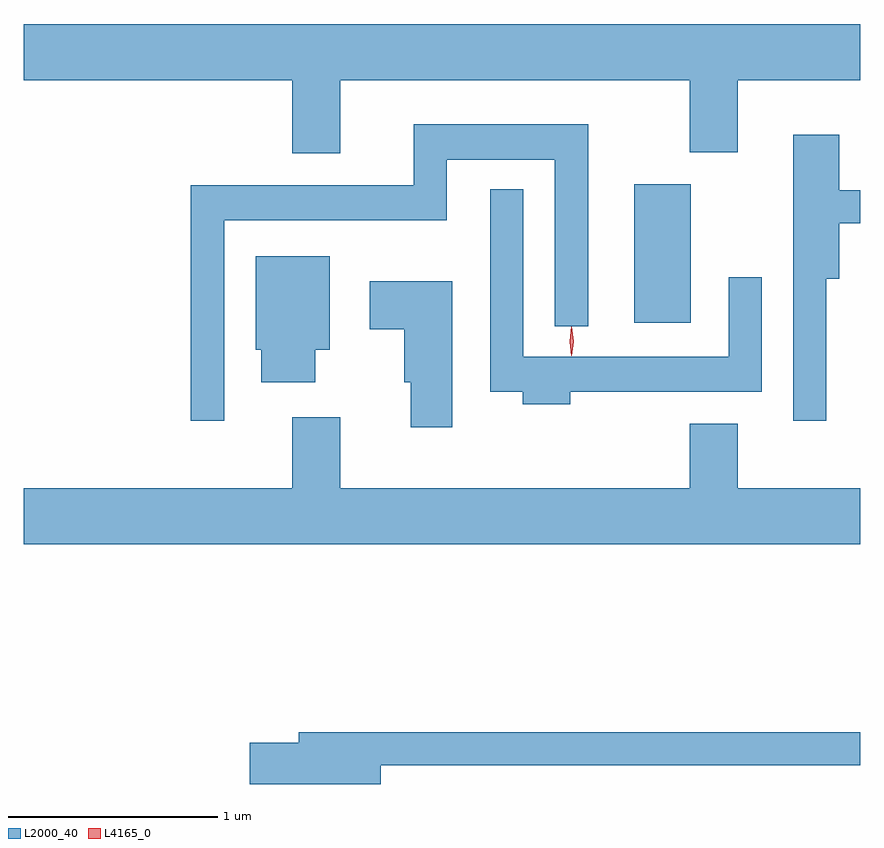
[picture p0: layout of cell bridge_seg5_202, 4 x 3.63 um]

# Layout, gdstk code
import gdstk
lib = gdstk.Library(unit=1e-6, precision=1e-09)
def R(c, l, rs):  # rectangles x0, y0, x1, y1
    for r in rs: c.add(gdstk.rectangle(r[:2], r[2:], *l))
def P(c, l, *ps):  # polygons
    for p in ps: c.add(gdstk.Polygon(p, *l))
L2000_40 = (2000, 40)
L4165_0 = (4165, 0)

bridge_seg5_202 = lib.new_cell('bridge_seg5_202')
R(bridge_seg5_202, L2000_40, [(1290.476,1428.996,1290.744,1429.659)])
P(bridge_seg5_202, L2000_40, [(1289.069,1430.156),(1290.741,1430.156),(1290.741,1429.811),(1290.969,1429.811),(1290.969,1430.156),(1291.556,1430.156),(1291.556,1430.424),(1287.556,1430.424),(1287.556,1430.156),(1288.841,1430.156),(1288.841,1429.806),(1289.069,1429.806)],
  [(1288.514,1429.486),(1289.579,1429.486),(1289.579,1429.776),(1290.096,1429.776),(1290.096,1428.978),(1290.254,1428.978),(1290.254,1429.944),(1289.421,1429.944),(1289.421,1429.654),(1288.356,1429.654),(1288.356,1428.528),(1288.514,1428.528)],
  [(1291.394,1429.206),(1291.454,1429.206),(1291.454,1429.471),(1291.556,1429.471),(1291.556,1429.629),(1291.454,1429.629),(1291.454,1429.894),(1291.236,1429.894),(1291.236,1428.528),(1291.394,1428.528)],
  [(1290.169,1428.666),(1291.084,1428.666),(1291.084,1429.213),(1290.926,1429.213),(1290.926,1428.834),(1289.944,1428.834),(1289.944,1429.633),(1289.786,1429.633),(1289.786,1428.666),(1289.941,1428.666),(1289.941,1428.606),(1290.169,1428.606)],
  [(1288.949,1428.866),(1289.019,1428.866),(1289.019,1429.314),(1288.666,1429.314),(1288.666,1428.866),(1288.691,1428.866),(1288.691,1428.711),(1288.949,1428.711)],
  [(1289.604,1429.194),(1289.211,1429.194),(1289.211,1428.966),(1289.376,1428.966),(1289.376,1428.711),(1289.406,1428.711),(1289.406,1428.496),(1289.604,1428.496)],
  [(1291.556,1428.204),(1290.969,1428.204),(1290.969,1428.514),(1290.741,1428.514),(1290.741,1428.204),(1289.069,1428.204),(1289.069,1428.544),(1288.841,1428.544),(1288.841,1428.204),(1287.556,1428.204),(1287.556,1427.936),(1291.556,1427.936)],
  [(1289.264,1426.881),(1291.556,1426.881),(1291.556,1427.039),(1288.871,1427.039),(1288.871,1426.989),(1288.636,1426.989),(1288.636,1426.791),(1289.264,1426.791)])
P(bridge_seg5_202, L4165_0, [(1290.176,1428.837),(1290.175,1428.838),(1290.166,1428.907),(1290.175,1428.976),(1290.176,1428.976),(1290.176,1428.976),(1290.186,1428.907),(1290.176,1428.838)],
  [(1290.176,1428.839),(1290.175,1428.84),(1290.166,1428.906),(1290.175,1428.972),(1290.176,1428.973),(1290.176,1428.972),(1290.186,1428.906),(1290.176,1428.84)])

lib.write_gds('bridge_seg5_202.gds')
